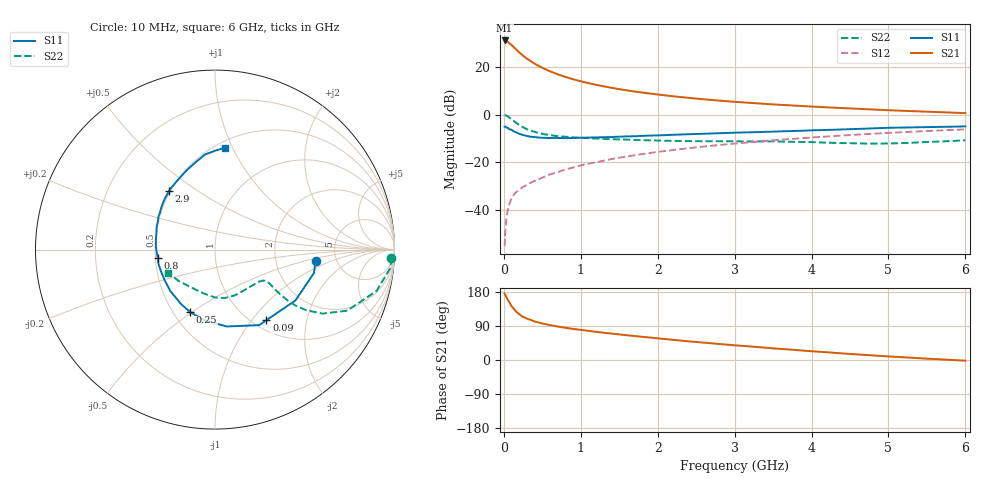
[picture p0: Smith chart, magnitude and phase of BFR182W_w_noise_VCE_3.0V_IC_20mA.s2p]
! (c) 2017  Infineon Technologies AG, Munich
! Infineon Technologies  Discrete & RF Semiconductors
! BFR182W
! VCE =  3.0 V,  IC =  20 mA
! Common Emitter S-Parameters:  Jan 2017
# GHz  S  MA  R  50
!  f  S11  S21  S12  S22
! GHz  MAG  ANG  MAG  ANG  MAG  ANG  MAG  ANG
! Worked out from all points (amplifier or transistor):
!   77 points, 10 MHz to 6 GHz, reference 50 ohm
!   highest |S21| = 31.4 dB at 10 MHz (marker M1)
!   |S21| within 3 dB of that: start of sweep to 134.5 MHz
!   unconditionally stable (mu >= 1): 796.5 MHz to 2.356 GHz
!   at 130 MHz: K = 0.42, MSG = 31.1 dB, |S12| = -33.7 dB
!   at 2.2 GHz: K = 1.01, MAG = 10.7 dB, |S12| = -14.8 dB
!   at 6 GHz: K = 0.87, MSG = 3.4 dB, |S12| = -6.1 dB
!   lowest NFmin = 1.41 dB at 450 MHz
!   S11 on the Smith chart (normalised r, x): 10 MHz: 3.45, -0.66; 90 MHz: 1.15, -1.19; 250 MHz: 0.61, -0.49; 800 MHz: 0.51, -0.06; 2.9 GHz: 0.49, +0.39; 6 GHz: 0.56, +0.93
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0.01  0.5639 -6.7  36.97 175.4  0.0017 104.6  0.9838 -2.7
0.02  0.5664 -13.3  36.96 171.3  0.0038 83.0  0.9824 -6.0
0.05  0.5304 -32.2  34.79 159.0  0.0096 75.6  0.9292 -14.3
0.09  0.4866 -53.9  30.54 145.8  0.0159 71.9  0.8335 -22.4
0.1  0.4875 -59.7  29.77 142.0  0.0175 71.4  0.8126 -24.7
0.15  0.4332 -81.3  24.76 129.6  0.0227 65.3  0.6988 -30.7
0.2  0.3989 -98.1  20.72 120.7  0.0262 63.5  0.6112 -33.6
0.25  0.3752 -111.5  17.66 113.9  0.0302 63.0  0.5466 -34.8
0.3  0.3575 -122.0  15.24 109.1  0.0333 63.3  0.4964 -35.0
0.4  0.3393 -137.4  11.97 101.6  0.0404 65.1  0.435 -34.3
0.5  0.3279 -149.1  9.767 96.3  0.0473 66.5  0.3971 -33.4
0.6  0.3243 -158.4  8.268 92.0  0.0554 67.7  0.3725 -32.5
0.7  0.3247 -165.5  7.144 88.4  0.062 69.2  0.3559 -31.8
0.8  0.3224 -171.4  6.304 85.0  0.0704 69.8  0.3447 -31.7
1.1  0.3315 173.9  4.659 76.9  0.0927 70.3  0.3224 -32.5
1.5  0.3463 160.3  3.479 67.5  0.1247 69.3  0.3027 -36.7
2.1  0.3732 144.5  2.569 55.2  0.173 66.1  0.2841 -47.3
2.9  0.4147 128.1  1.937 40.5  0.2391 60.6  0.2771 -65.7
3.1  0.4239 124.4  1.834 37.3  0.2558 58.9  0.2758 -70.2
4.1  0.4748 108.1  1.465 21.8  0.3405 50.1  0.2621 -93.1
5.1  0.5361 94.7  1.232 8.3  0.4235 40.4  0.2509 -126.0
6  0.5697 84.5  1.086 -1.8  0.4931 31.1  0.2908 -153.3
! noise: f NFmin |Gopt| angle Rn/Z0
0.45  1.41  0.11  -176  0.15
0.9  1.49  0.11  -171  0.15
1.9  2  0.28  -142  0.16
2.4  2.26  0.29  -128  0.26
